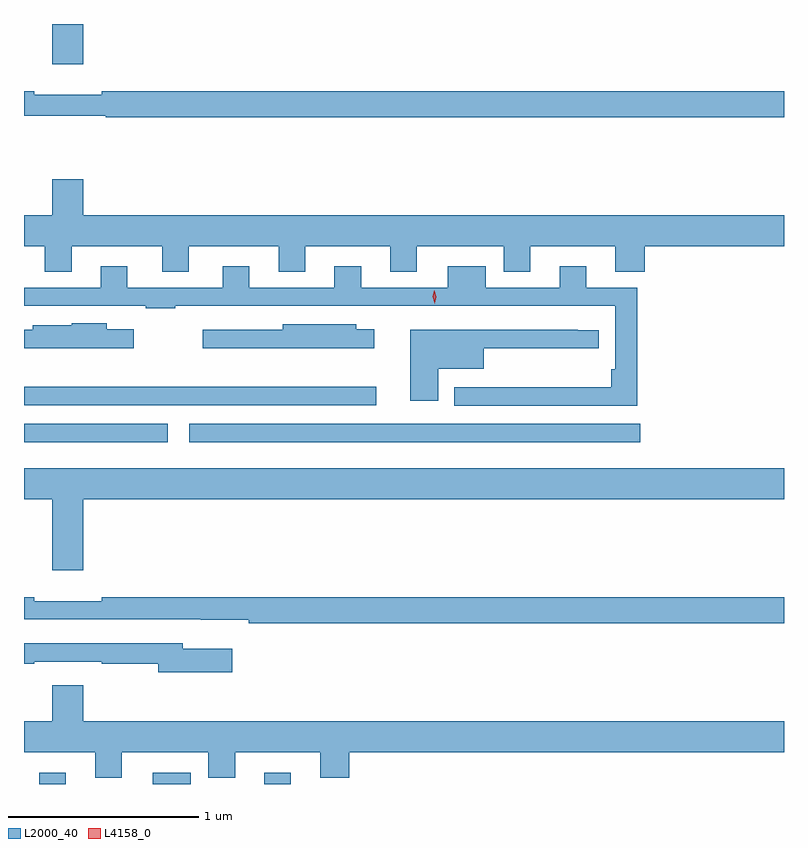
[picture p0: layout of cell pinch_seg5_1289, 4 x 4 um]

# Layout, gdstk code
import gdstk
lib = gdstk.Library(unit=1e-6, precision=1e-09)
def R(c, l, rs):  # rectangles x0, y0, x1, y1
    for r in rs: c.add(gdstk.rectangle(r[:2], r[2:], *l))
def P(c, l, *ps):  # polygons
    for p in ps: c.add(gdstk.Polygon(p, *l))
L2000_40 = (2000, 40)
L4158_0 = (4158, 0)

pinch_seg5_1289 = lib.new_cell('pinch_seg5_1289')
R(pinch_seg5_1289, L2000_40, [(512.591,848.602,512.731,848.662), (513.188,848.602,513.388,848.662), (513.776,848.602,513.916,848.662), (512.511,850.4,513.268,850.497), (513.381,850.4,515.755,850.497), (512.511,850.596,514.366,850.694), (512.66,852.39,512.824,852.602)])
P(pinch_seg5_1289, L2000_40, [(516.511,852.248),(512.92,852.248),(512.92,852.229),(512.564,852.229),(512.564,852.248),(512.511,852.248),(512.511,852.12),(512.942,852.12),(512.942,852.112),(516.511,852.112)],
  [(512.761,851.432),(513.239,851.432),(513.239,851.299),(513.379,851.299),(513.379,851.432),(513.851,851.432),(513.851,851.299),(513.991,851.299),(513.991,851.432),(514.439,851.432),(514.439,851.299),(514.579,851.299),(514.579,851.432),(515.036,851.432),(515.036,851.299),(515.176,851.299),(515.176,851.432),(515.624,851.432),(515.624,851.299),(515.777,851.299),(515.777,851.432),(516.511,851.432),(516.511,851.596),(512.824,851.596),(512.824,851.785),(512.66,851.785),(512.66,851.596),(512.511,851.596),(512.511,851.432),(512.621,851.432),(512.621,851.299),(512.761,851.299)],
  [(515.738,851.214),(515.47,851.214),(515.47,851.326),(515.33,851.326),(515.33,851.214),(514.942,851.214),(514.942,851.326),(514.742,851.326),(514.742,851.214),(514.285,851.214),(514.285,851.326),(514.145,851.326),(514.145,851.214),(513.697,851.214),(513.697,851.326),(513.557,851.326),(513.557,851.214),(513.055,851.214),(513.055,851.326),(512.915,851.326),(512.915,851.214),(512.511,851.214),(512.511,851.118),(513.151,851.118),(513.151,851.106),(513.306,851.106),(513.306,851.118),(515.622,851.118),(515.622,850.786),(515.602,850.786),(515.602,850.691),(515.026,850.691),(515.026,850.689),(514.775,850.689),(514.775,850.593),(515.738,850.593)],
  [(513.088,850.996),(512.947,850.996),(512.947,851.026),(512.763,851.026),(512.763,851.017),(512.556,851.017),(512.556,850.992),(512.511,850.992),(512.511,850.895),(513.088,850.895)],
  [(514.354,850.996),(514.26,850.996),(514.26,851.023),(513.872,851.023),(513.872,850.992),(513.453,850.992),(513.453,850.895),(514.354,850.895)],
  [(514.69,850.787),(514.93,850.787),(514.93,850.895),(515.537,850.895),(515.537,850.991),(515.426,850.991),(515.426,850.992),(514.826,850.992),(514.826,850.993),(514.544,850.993),(514.544,850.62),(514.69,850.62)],
  [(512.824,850.1),(516.511,850.1),(516.511,850.264),(512.511,850.264),(512.511,850.1),(512.66,850.1),(512.66,849.726),(512.824,849.726)],
  [(516.511,849.584),(512.92,849.584),(512.92,849.565),(512.564,849.565),(512.564,849.584),(512.511,849.584),(512.511,849.468),(513.442,849.468),(513.442,849.467),(513.694,849.467),(513.694,849.448),(516.511,849.448)],
  [(513.607,849.313),(513.346,849.313),(513.346,849.342),(512.511,849.342),(512.511,849.234),(512.564,849.234),(512.564,849.246),(512.92,849.246),(512.92,849.234),(513.218,849.234),(513.218,849.191),(513.607,849.191)],
  [(513.025,848.768),(513.482,848.768),(513.482,848.635),(513.622,848.635),(513.622,848.768),(514.07,848.768),(514.07,848.635),(514.222,848.635),(514.222,848.768),(516.511,848.768),(516.511,848.932),(512.824,848.932),(512.824,849.121),(512.66,849.121),(512.66,848.932),(512.511,848.932),(512.511,848.768),(512.885,848.768),(512.885,848.635),(513.025,848.635)])
P(pinch_seg5_1289, L4158_0, [(514.673,851.13),(514.673,851.131),(514.662,851.166),(514.671,851.201),(514.671,851.201),(514.671,851.201),(514.682,851.166),(514.674,851.131)])

lib.write_gds('pinch_seg5_1289.gds')
